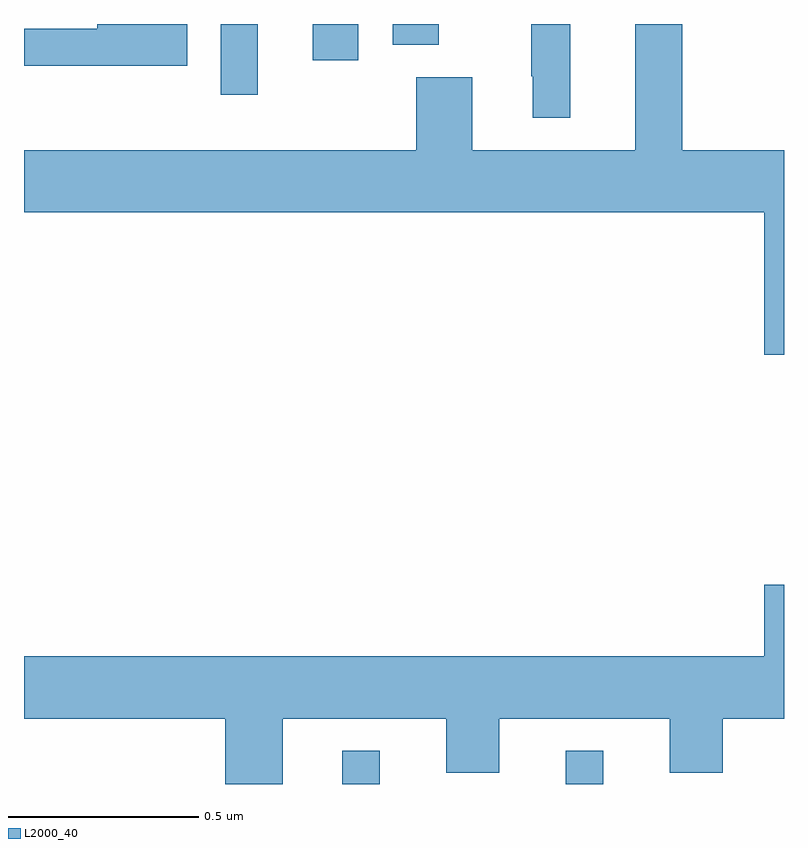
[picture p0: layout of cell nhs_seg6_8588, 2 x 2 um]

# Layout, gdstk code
import gdstk
lib = gdstk.Library(unit=1e-6, precision=1e-09)
def R(c, l, rs):  # rectangles x0, y0, x1, y1
    for r in rs: c.add(gdstk.rectangle(r[:2], r[2:], *l))
def P(c, l, *ps):  # polygons
    for p in ps: c.add(gdstk.Polygon(p, *l))
L2000_40 = (2000, 40)

nhs_seg6_8588 = lib.new_cell('nhs_seg6_8588')
R(nhs_seg6_8588, L2000_40, [(223.838,944.5,223.936,944.587), (224.426,944.5,224.524,944.587), (223.518,946.314,223.615,946.5), (223.76,946.404,223.879,946.5), (223.97,946.445,224.092,946.5)])
P(nhs_seg6_8588, L2000_40, [(224.437,946.5),(224.335,946.5),(224.335,946.363),(224.339,946.363),(224.339,946.253),(224.437,946.253)],
  [(223.429,946.5),(223.193,946.5),(223.193,946.488),(223,946.488),(223,946.39),(223.429,946.39)],
  [(225,946.168),(224.732,946.168),(224.732,946.5),(224.609,946.5),(224.609,946.168),(224.179,946.168),(224.179,946.36),(224.032,946.36),(224.032,946.168),(223,946.168),(223,946.004),(224.948,946.004),(224.948,945.63),(225,945.63)],
  [(223.681,944.672),(224.111,944.672),(224.111,944.53),(224.251,944.53),(224.251,944.672),(224.699,944.672),(224.699,944.53),(224.839,944.53),(224.839,944.672),(225,944.672),(225,945.025),(224.948,945.025),(224.948,944.836),(223,944.836),(223,944.672),(223.529,944.672),(223.529,944.5),(223.681,944.5)])

lib.write_gds('nhs_seg6_8588.gds')
